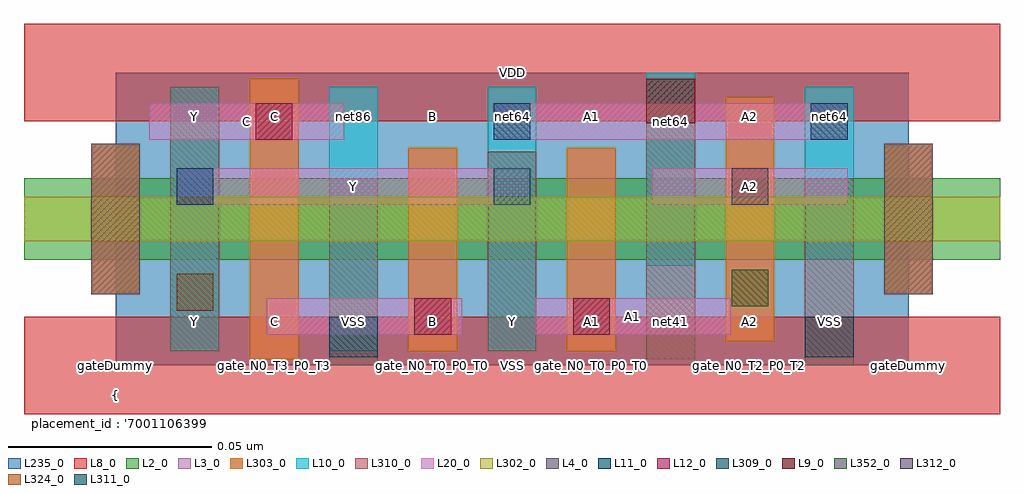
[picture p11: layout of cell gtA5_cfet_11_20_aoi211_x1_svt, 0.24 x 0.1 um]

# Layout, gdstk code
import gdstk
lib = gdstk.Library(unit=1e-6, precision=2.5e-10)
def R(c, l, rs):  # rectangles x0, y0, x1, y1
    for r in rs: c.add(gdstk.rectangle(r[:2], r[2:], *l))
def A(c, l, x, y, w, h, nx, ny, dx, dy):  # array of equal rectangles
    R(c, l, [(x+i*dx, y+j*dy, x+i*dx+w, y+j*dy+h) for i in range(nx) for j in range(ny)])
L2_0 = (2, 0)
L3_0 = (3, 0)
L4_0 = (4, 0)
L8_0 = (8, 0)
L9_0 = (9, 0)
L10_0 = (10, 0)
L11_0 = (11, 0)
L12_0 = (12, 0)
L20_0 = (20, 0)
L235_0 = (235, 0)
L302_0 = (302, 0)
L303_0 = (303, 0)
L309_0 = (309, 0)
L310_0 = (310, 0)
L311_0 = (311, 0)
L312_0 = (312, 0)
L324_0 = (324, 0)
L352_0 = (352, 0)

gta5_cfet_11_20_aoi211_x = lib.new_cell('gtA5_cfet_11_20_aoi211_x1_svt')
R(gta5_cfet_11_20_aoi211_x, L2_0, [(-0.0225,0.026,0.2175,0.046)])
R(gta5_cfet_11_20_aoi211_x, L3_0, [(0.033,0.0015,0.045,0.0705), (0.072,0.0035,0.084,0.0535), (0.111,0.0035,0.123,0.0535), (0.15,0.006,0.162,0.066), (-0.006,0.0175,0.006,0.0545), (0.189,0.0175,0.201,0.0545)])
R(gta5_cfet_11_20_aoi211_x, L4_0, [(-0.006,0.0175,0.006,0.0545), (0.189,0.0175,0.201,0.0545)])
R(gta5_cfet_11_20_aoi211_x, L8_0, [(-0.0225,-0.012,0.2175,0.012), (-0.0225,0.06,0.2175,0.084)])
R(gta5_cfet_11_20_aoi211_x, L9_0, [(0.1305,0.0595,0.1425,0.0705)])
A(gta5_cfet_11_20_aoi211_x, L10_0, 0.0135, 0.0035, 0.012, 0.065, 3, 1, 0.039, 0)
R(gta5_cfet_11_20_aoi211_x, L10_0, [(0.1305,0.0245,0.1425,0.072), (0.1695,0.026,0.1815,0.0685)])
R(gta5_cfet_11_20_aoi211_x, L11_0, [(0.015,0.0395,0.024,0.0485), (0.093,0.0555,0.102,0.0645), (0.171,0.0555,0.18,0.0645)])
R(gta5_cfet_11_20_aoi211_x, L12_0, [(0.0735,0.0075,0.0825,0.0165), (0.1125,0.0075,0.1215,0.0165), (0.0345,0.0555,0.0435,0.0645)])
R(gta5_cfet_11_20_aoi211_x, L20_0, [(0.0372,0.0075,0.0853,0.0165), (0.1033,0.0075,0.1512,0.0165), (0.015,0.0395,0.102,0.0485), (0.132,0.0395,0.18,0.0485), (0.0083,0.0555,0.0563,0.0645), (0.093,0.0555,0.18,0.0645)])
R(gta5_cfet_11_20_aoi211_x, L235_0, [(0,0,0.195,0.072)])
R(gta5_cfet_11_20_aoi211_x, L302_0, [(-0.0225,0.0305,0.2175,0.0415)])
R(gta5_cfet_11_20_aoi211_x, L303_0, [(0.033,0.0015,0.045,0.0705), (0.072,0.0035,0.084,0.0535), (0.111,0.0035,0.123,0.0535), (0.15,0.006,0.162,0.066), (-0.006,0.0175,0.006,0.0545), (0.189,0.0175,0.201,0.0545)])
R(gta5_cfet_11_20_aoi211_x, L309_0, [(0.0525,0.002,0.0645,0.012), (0.1695,0.002,0.1815,0.012)])
R(gta5_cfet_11_20_aoi211_x, L310_0, [(0.0525,0,0.0645,0.046), (0.1695,0,0.1815,0.046), (0.1305,0.0015,0.1425,0.0705), (0.0135,0.0035,0.0255,0.0685), (0.0915,0.0035,0.1035,0.0525)])
R(gta5_cfet_11_20_aoi211_x, L311_0, [(0.093,0.0395,0.102,0.0485)])
R(gta5_cfet_11_20_aoi211_x, L312_0, [(0.1515,0.0395,0.1605,0.0485)])
R(gta5_cfet_11_20_aoi211_x, L324_0, [(0.015,0.0135,0.024,0.0225)])
R(gta5_cfet_11_20_aoi211_x, L352_0, [(0.1515,0.0145,0.1605,0.0235)])
gta5_cfet_11_20_aoi211_x.add(gdstk.Label('net64', (0.1365,0.06), layer=100, texttype=100))
gta5_cfet_11_20_aoi211_x.add(gdstk.Label('gateDummy', (0,0), layer=103, texttype=103))
gta5_cfet_11_20_aoi211_x.add(gdstk.Label('sd_N0_T2_P0_T2', (0.0195,0), layer=103, texttype=103))
gta5_cfet_11_20_aoi211_x.add(gdstk.Label('gate_N0_T3_P0_T3', (0.039,0), layer=103, texttype=103))
gta5_cfet_11_20_aoi211_x.add(gdstk.Label('sd_N0_VSS', (0.0585,0), layer=103, texttype=103))
gta5_cfet_11_20_aoi211_x.add(gdstk.Label('gate_N0_T0_P0_T0', (0.078,0), layer=103, texttype=103))
gta5_cfet_11_20_aoi211_x.add(gdstk.Label('sd_N0_T2_P0_T3', (0.0975,0), layer=103, texttype=103))
gta5_cfet_11_20_aoi211_x.add(gdstk.Label('gate_N0_T0_P0_T0', (0.117,0), layer=103, texttype=103))
gta5_cfet_11_20_aoi211_x.add(gdstk.Label('sd_P0_VDD', (0.1365,0), layer=103, texttype=103))
gta5_cfet_11_20_aoi211_x.add(gdstk.Label('gate_N0_T2_P0_T2', (0.156,0), layer=103, texttype=103))
gta5_cfet_11_20_aoi211_x.add(gdstk.Label('sd_N0_VSS_P0_T3', (0.1755,0), layer=103, texttype=103))
gta5_cfet_11_20_aoi211_x.add(gdstk.Label('gateDummy', (0.195,0), layer=103, texttype=103))
gta5_cfet_11_20_aoi211_x.add(gdstk.Label('}', (0,-0.0785), layer=104, texttype=104))
gta5_cfet_11_20_aoi211_x.add(gdstk.Label('  power : None', (0,-0.0713), layer=104, texttype=104))
gta5_cfet_11_20_aoi211_x.add(gdstk.Label('  performance : None', (0,-0.0643), layer=104, texttype=104))
gta5_cfet_11_20_aoi211_x.add(gdstk.Label("  solution_hash : '15159251508333864996'", (0,-0.057), layer=104, texttype=104))
gta5_cfet_11_20_aoi211_x.add(gdstk.Label('  number_m2 : 0', (0,-0.05), layer=104, texttype=104))
gta5_cfet_11_20_aoi211_x.add(gdstk.Label('  number_m1 : 0', (0,-0.0428), layer=104, texttype=104))
gta5_cfet_11_20_aoi211_x.add(gdstk.Label('  number_m0cuts : 0', (0,-0.0358), layer=104, texttype=104))
gta5_cfet_11_20_aoi211_x.add(gdstk.Label('  number_m0 : 6', (0,-0.0285), layer=104, texttype=104))
gta5_cfet_11_20_aoi211_x.add(gdstk.Label("  solution_number : '0000'", (0,-0.0215), layer=104, texttype=104))
gta5_cfet_11_20_aoi211_x.add(gdstk.Label("  placement_id : '7001106399910478332'", (0,-0.0143), layer=104, texttype=104))
gta5_cfet_11_20_aoi211_x.add(gdstk.Label('{', (0,-0.0073), layer=104, texttype=104))
gta5_cfet_11_20_aoi211_x.add(gdstk.Label('Y', (0.0195,0.0108), layer=105, texttype=105))
gta5_cfet_11_20_aoi211_x.add(gdstk.Label('C', (0.039,0.0108), layer=105, texttype=105))
gta5_cfet_11_20_aoi211_x.add(gdstk.Label('VSS', (0.0585,0.0108), layer=105, texttype=105))
gta5_cfet_11_20_aoi211_x.add(gdstk.Label('B', (0.078,0.0108), layer=105, texttype=105))
gta5_cfet_11_20_aoi211_x.add(gdstk.Label('Y', (0.0975,0.0108), layer=105, texttype=105))
gta5_cfet_11_20_aoi211_x.add(gdstk.Label('A1', (0.117,0.0108), layer=105, texttype=105))
gta5_cfet_11_20_aoi211_x.add(gdstk.Label('net41', (0.1365,0.0108), layer=105, texttype=105))
gta5_cfet_11_20_aoi211_x.add(gdstk.Label('A2', (0.156,0.0108), layer=105, texttype=105))
gta5_cfet_11_20_aoi211_x.add(gdstk.Label('VSS', (0.1755,0.0108), layer=105, texttype=105))
gta5_cfet_11_20_aoi211_x.add(gdstk.Label('Y', (0.0195,0.0612), layer=105, texttype=105))
gta5_cfet_11_20_aoi211_x.add(gdstk.Label('C', (0.039,0.0612), layer=105, texttype=105))
gta5_cfet_11_20_aoi211_x.add(gdstk.Label('net86', (0.0585,0.0612), layer=105, texttype=105))
gta5_cfet_11_20_aoi211_x.add(gdstk.Label('B', (0.078,0.0612), layer=105, texttype=105))
gta5_cfet_11_20_aoi211_x.add(gdstk.Label('net64', (0.0975,0.0612), layer=105, texttype=105))
gta5_cfet_11_20_aoi211_x.add(gdstk.Label('A1', (0.117,0.0612), layer=105, texttype=105))
gta5_cfet_11_20_aoi211_x.add(gdstk.Label('VDD', (0.1365,0.0612), layer=105, texttype=105))
gta5_cfet_11_20_aoi211_x.add(gdstk.Label('A2', (0.156,0.0612), layer=105, texttype=105))
gta5_cfet_11_20_aoi211_x.add(gdstk.Label('net64', (0.1755,0.0612), layer=105, texttype=105))
gta5_cfet_11_20_aoi211_x.add(gdstk.Label('VSS', (0.0975,0), layer=8, texttype=0))
gta5_cfet_11_20_aoi211_x.add(gdstk.Label('VDD', (0.0975,0.072), layer=8, texttype=0))
gta5_cfet_11_20_aoi211_x.add(gdstk.Label('B', (0.0612,0.012), layer=20, texttype=251))
gta5_cfet_11_20_aoi211_x.add(gdstk.Label('A1', (0.1273,0.012), layer=20, texttype=251))
gta5_cfet_11_20_aoi211_x.add(gdstk.Label('Y', (0.0585,0.044), layer=20, texttype=251))
gta5_cfet_11_20_aoi211_x.add(gdstk.Label('A2', (0.156,0.044), layer=20, texttype=251))
gta5_cfet_11_20_aoi211_x.add(gdstk.Label('C', (0.0323,0.06), layer=20, texttype=251))
gta5_cfet_11_20_aoi211_x.add(gdstk.Label('gtA5_cfet_11_20_aoi211_x1_rvt_0', (0,0), layer=235, texttype=0))

lib.write_gds('gtA5_cfet_11_20_aoi211_x1_svt.gds')
